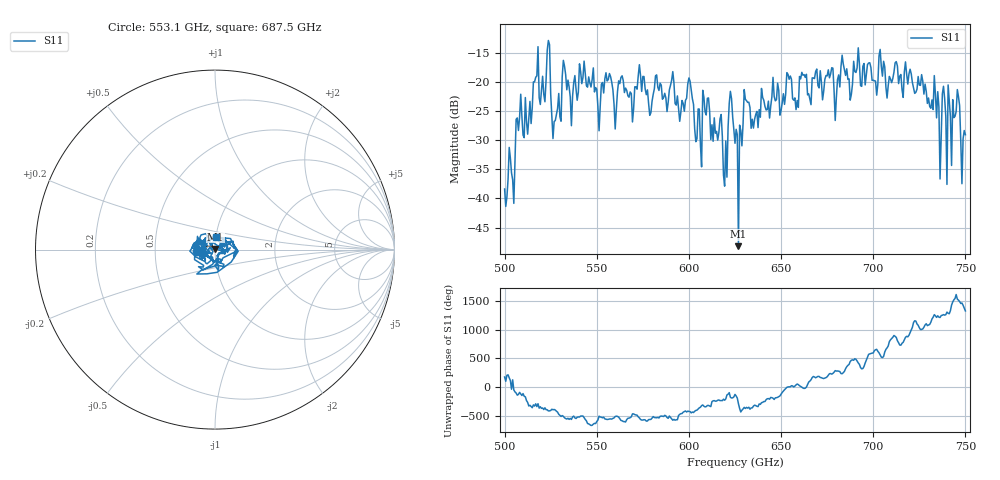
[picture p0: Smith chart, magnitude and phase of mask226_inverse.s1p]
!Created with skrf (http://scikit-rf.org).
# GHz S MA R 50.0
!freq magS11 angS11
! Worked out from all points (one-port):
!   401 points, 500 GHz to 750 GHz, reference 50 ohm
!   lowest |S11| = -48.2 dB at 626.9 GHz (marker M1), VSWR 1.01, Z = 50.1 + j0.367 ohm
!   |S11| at or under -10 dB: start of sweep to end of sweep
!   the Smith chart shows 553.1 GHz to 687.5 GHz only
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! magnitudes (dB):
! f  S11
! 500 GHz  -38.4
! 504.4 GHz  -36.8
! 507.5 GHz  -28.3
! 513.8 GHz  -23.4
! 516.9 GHz  -19.2
! 520.6 GHz  -19.0
! 523.8 GHz  -12.9
! 526.9 GHz  -26.8
! 531.2 GHz  -19.1
! 556.2 GHz  -19.6
! 560 GHz  -28.1
! 562.5 GHz  -20.3
! 579.4 GHz  -25.3
! 590.6 GHz  -19.7
! 593.8 GHz  -22.4
! 600.6 GHz  -19.9
! 605.6 GHz  -24.7
! 608.8 GHz  -25.1
! 619.4 GHz  -37.9
! 622.5 GHz  -21.6
! 625 GHz  -30.5
! 626.9 GHz  -48.2
! 631.2 GHz  -23.2
! 635 GHz  -27.9
! 656.2 GHz  -22.9
! 687.5 GHz  -23.1
! 718.8 GHz  -20.4
! 750 GHz  -29.1
